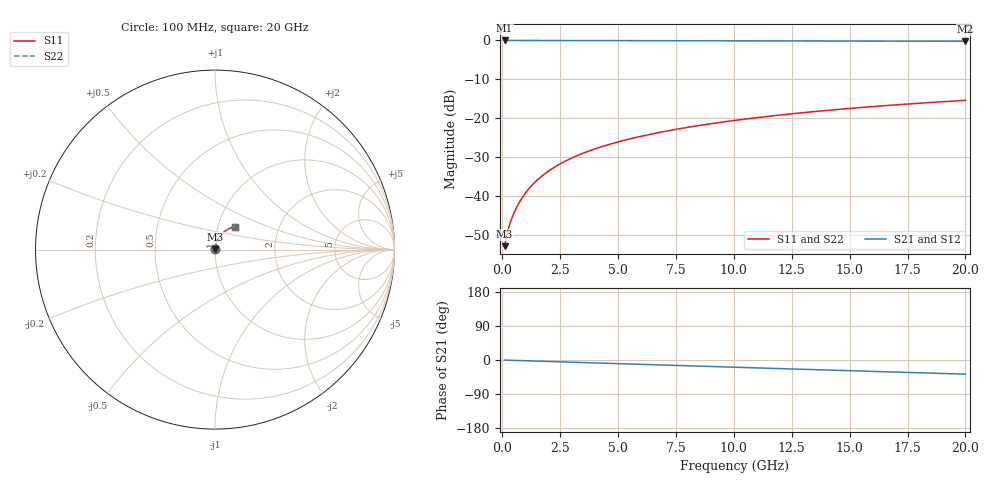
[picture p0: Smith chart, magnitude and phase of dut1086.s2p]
! Touchstone file exported from HFSS 2026.1.0
!  File:  C:/ffzhzh/LocalFiles/Ansys_Project_Files/temp_train_BSMRDL_1086_1783174530_22436.aedt
!  Generated:  10:16:45 PM Jul  4, 2026
!  Design:  BSMRDL
!  Project:  temp_train_BSMRDL_1086_1783174530_22436
! Variables:
!  h_bsmrdl = 4.96um
!  h_ox = 20um
!  h_rdl = 5um
!  h_sub = 80um
!  h_tmrdl = 5um
!  h_tsv = 80um
!  h_via = 3um
!  l_bsmrdl = 627.88um
!  l_sub = 1027.88um
!  l_tmrdl = 200um
!  m_sub = 200um
!  pitch = 41.2um
!  r_tsv = 6um
!  s_tmrdl = 10um
!  w_bsmrdl = 28.79um
!  w_sub = 500um
!  w_tmrdl = 12um
!  x_tsv_center1 = 206um
!  x_tsv_center2 = 862.67um
!  x_tsv_center3 = 1074.67um
!  x_tsv_center4 = 1731.34um
!  x_tsv_center5 = 1943.34um
!  x_tsv_center6 = 2600.01um
# GHz S MA R 50.000000
! Terminal data exported
! Port[1] = BSM_RDL1_1_T1
! Port[2] = BSM_RDL1_1_T2
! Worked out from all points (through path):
!   200 points, 100 MHz to 20 GHz, reference 50 ohm
!   highest |S21| = -0.02 dB at 100 MHz (marker M1); lowest = -0.2 dB at 20 GHz (marker M2)
!   group delay of S21, straight-line fit = 5.18 ps
!   lowest |S11| = -52.8 dB at 100 MHz (marker M3), VSWR 1.00, Z = 50.2 + j0.137 ohm
!   |S11| at or under -10 dB: start of sweep to end of sweep
!   |S22| runs from -52.8 to -15.4 dB; largest |S21 - S12| = 4e-15
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0.1  0.002289 36.5  0.9982 -0.2  0.9982 -0.2  0.002289 36.5
! Gamma 0 0 0 0
! Port Impedance 50 0 50 0
0.2  0.003255 50.0  0.9979 -0.4  0.9979 -0.4  0.003255 50.0
0.3  0.004185 57.0  0.9978 -0.6  0.9978 -0.6  0.004185 57.0
0.4  0.005111 61.9  0.9976 -0.8  0.9976 -0.8  0.005111 61.9
0.5  0.006055 65.5  0.9976 -1.0  0.9976 -1.0  0.006055 65.5
0.6  0.007019 68.2  0.9975 -1.2  0.9975 -1.2  0.007018 68.2
0.8  0.008991 71.8  0.9974 -1.6  0.9974 -1.6  0.008991 71.8
1  0.011 74.0  0.9973 -2.0  0.9973 -2.0  0.011 74.0
1.2  0.01302 75.3  0.9971 -2.4  0.9971 -2.4  0.01302 75.3
1.4  0.01505 76.1  0.997 -2.7  0.997 -2.7  0.01505 76.2
1.7  0.01809 76.8  0.9967 -3.3  0.9967 -3.3  0.01809 76.8
2.2  0.02311 77.1  0.9963 -4.3  0.9963 -4.3  0.02311 77.1
2.8  0.02903 76.7  0.9956 -5.5  0.9956 -5.5  0.02902 76.8
3.5  0.03579 76.0  0.9949 -6.8  0.9949 -6.8  0.03578 76.0
4.2  0.0424 75.0  0.994 -8.1  0.994 -8.1  0.0424 75.0
5  0.04982 73.8  0.9931 -9.6  0.9931 -9.6  0.04981 73.9
6.8  0.06605 71.1  0.991 -13.0  0.991 -13.0  0.06604 71.1
8.3  0.07919 68.7  0.9893 -15.8  0.9893 -15.8  0.07919 68.7
10.1  0.09455 65.7  0.9871 -19.2  0.9871 -19.2  0.09454 65.8
13.4  0.1215 60.2  0.9829 -25.3  0.9829 -25.3  0.1215 60.2
16.7  0.1468 54.5  0.9785 -31.4  0.9785 -31.4  0.1467 54.6
20  0.17 48.9  0.974 -37.4  0.974 -37.4  0.17 48.9
